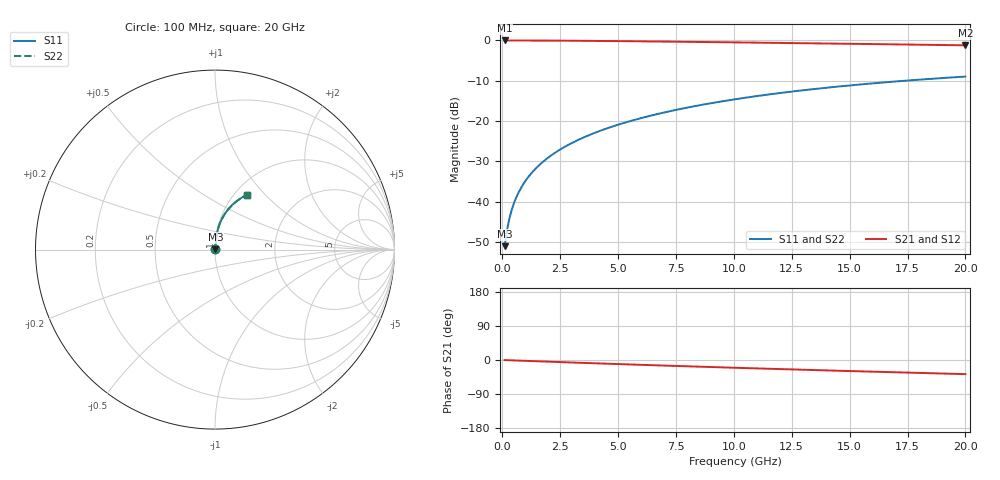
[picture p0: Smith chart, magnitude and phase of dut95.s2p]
! Touchstone file exported from HFSS 2024.1.0
!  File:  C:/UserFiles/LocalFiles/RDL_TSV_Batchsim/temp_RDL_bottom_95_1778694974.aedt
!  Generated:  01:58:33 AM May 14, 2026
!  Design:  RDL_bottom
!  Project:  temp_RDL_bottom_95_1778694974
!  Setup:  Setup1
!  Solution:  Sweep
! Variables:
!  dtsv = 10.80580581um
!  hbump = 3um
!  htsv = 89.74um
!  ldown = 513.83um
!  lrdl = 100um
!  p = 40
!  p1 = 52.09um
!  rhole = 1um
!  t = 450um
!  tdown = 4.67um
!  trdl = 3.915915916um
!  wdown = 20.59um
!  wrdl = 20um
# GHz S MA R 50.000000
! Terminal data exported
! Port[1] = RDL1_T1
! Port[2] = RDL1_T2
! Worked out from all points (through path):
!   200 points, 100 MHz to 20 GHz, reference 50 ohm
!   highest |S21| = -0.02 dB at 100 MHz (marker M1); lowest = -1.2 dB at 20 GHz (marker M2)
!   group delay of S21, straight-line fit = 5.14 ps
!   lowest |S11| = -51.1 dB at 100 MHz (marker M3), VSWR 1.01, Z = 50.2 + j0.191 ohm
!   |S11| at or under -10 dB: start of sweep to 17.42 GHz
!   |S22| runs from -51.1 to -9.0 dB; largest |S21 - S12| = 3.1e-15
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0.1  0.002794 42.9  0.9979 -0.2  0.9979 -0.2  0.002794 42.9
! Gamma 0 0 0 0
! Port Impedance 50 0 50 0
0.2  0.004335 60.5  0.9978 -0.5  0.9978 -0.5  0.004335 60.5
0.3  0.006036 68.1  0.9977 -0.7  0.9977 -0.7  0.006036 68.1
0.4  0.007759 72.2  0.9975 -0.9  0.9975 -0.9  0.007759 72.2
0.5  0.009478 74.8  0.9974 -1.1  0.9974 -1.1  0.009478 74.8
0.7  0.0129 78.0  0.9971 -1.6  0.9971 -1.6  0.0129 78.0
0.8  0.01461 79.1  0.997 -1.8  0.997 -1.8  0.01461 79.1
1  0.01804 80.6  0.9966 -2.2  0.9966 -2.2  0.01804 80.6
1.2  0.02148 81.7  0.9962 -2.7  0.9962 -2.7  0.02148 81.7
1.4  0.02494 82.5  0.9958 -3.1  0.9958 -3.1  0.02494 82.5
1.7  0.03017 83.3  0.995 -3.8  0.995 -3.8  0.03017 83.3
2  0.03543 83.8  0.9942 -4.4  0.9942 -4.4  0.03543 83.8
2.7  0.04783 84.3  0.9916 -6.0  0.9916 -6.0  0.04783 84.3
3.5  0.06223 84.3  0.9881 -7.7  0.9881 -7.7  0.06222 84.3
4.2  0.07501 84.0  0.9844 -9.1  0.9844 -9.1  0.07501 84.0
5  0.08983 83.3  0.9798 -10.8  0.9798 -10.8  0.08983 83.3
6.8  0.1238 81.3  0.9682 -14.4  0.9682 -14.4  0.1238 81.3
8.4  0.1544 79.1  0.9571 -17.4  0.9571 -17.4  0.1544 79.0
10.1  0.1868 76.3  0.9447 -20.6  0.9447 -20.6  0.1868 76.3
13.4  0.2479 70.7  0.9199 -26.4  0.9199 -26.4  0.2478 70.7
16.7  0.3045 65.0  0.8943 -32.0  0.8943 -32.0  0.3045 65.0
20  0.3556 59.5  0.8685 -37.3  0.8685 -37.3  0.3556 59.5
